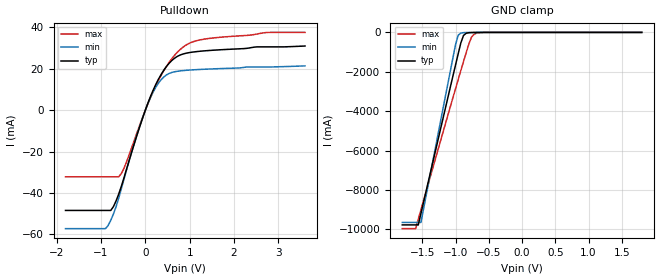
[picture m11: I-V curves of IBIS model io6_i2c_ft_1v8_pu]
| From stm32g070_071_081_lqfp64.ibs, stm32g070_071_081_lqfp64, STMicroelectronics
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|   Model io6_i2c_ft_1v8_pu
[Model]  io6_i2c_ft_1v8_pu
Model_type I/O_open_drain
Polarity   Non-Inverting
Enable   Active-High
Vinl =   0.540000V
Vinh =   1.260000V
Vmeas =  0.900000V
Cref =   30.000000pF
Rref =   100.000000
Vref =   2.000000V
C_comp   1.962900pF   1.853500pF   2.066400pF
[Temperature Range]   25.000000   -40.000000   0.125000k
[Pullup Reference]   1.800000V   1.600000V   2.000000V
[Pulldown Reference]   0.0V   0.0V   0.0V
[POWER Clamp Reference]   1.800000V   1.600000V   2.000000V
[GND Clamp Reference]   0.0V   0.0V   0.0V
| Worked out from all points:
|   slope of the pulldown table from 0 to 0.27 V, typ, clamps not added: 19.5 ohm
|   GND clamp passes 1 mA (typ) near -0.58 V on its own axis
[Pulldown]
|Voltage   I(typ)   I(min)   I(max)
-1.8V     -48.44mA   -57.24mA   -32.18mA
-900mV    -48.44mA   -57.24mA   -32.18mA
-720mV    -46.64mA   -50.21mA   -32.18mA
-600mV    -40.54mA   -42.5mA    -32.18mA
-480mV    -32.59mA   -33.22mA   -27.99mA
0V        -47.14uA   -34.69uA   -65.65uA
240mV     12.57mA    11.21mA    11.97mA
480mV     21.19mA    17.06mA    21.28mA
840mV     27.04mA    19.08mA    30.25mA
1.2V      28.38mA    19.62mA    33.78mA
2.76V     30.56mA    20.83mA    37.54mA
3.6V      30.97mA    21.38mA    37.55mA
[GND_clamp]
|Voltage   I(typ)   I(min)   I(max)
-1.8V     -9.78A     -9.654A    -9.97A
-1.6V     -9.78A     -9.654A    -9.97A
-1.56V    -9.78A     -9.654A    -9.488A
-1.52V    -9.197A    -9.654A    -9.009A
-1V       -1.657A    -623.4mA   -2.861A
-960mV    -1.089A    -143.5mA   -2.397A
-920mV    -532.3mA   -32.25mA   -1.936A
-880mV    -156.3mA   -12.42mA   -1.48A
-840mV    -44.7mA    -7.779mA   -1.031A
-760mV    -8.016mA   -3.95mA    -244.2mA
-680mV    -3.283mA   -1.507mA   -34.99mA
1.8V      0A         0A         0A
[POWER_clamp]
|Voltage   I(typ)   I(min)   I(max)
-1.8V     0A         0A         0A
0V        0A         0A         0A
[Ramp]
| variable   typ   min   max
dV/dt_r  0.72114/0.64211n   0.55745/1.09838n   0.80057/0.66434n
dV/dt_f  0.72114/5.32950n   0.55745/7.70487n   0.80057/4.49045n
R_load = 50.000000
|End [Model] io6_i2c_ft_1v8_pu
